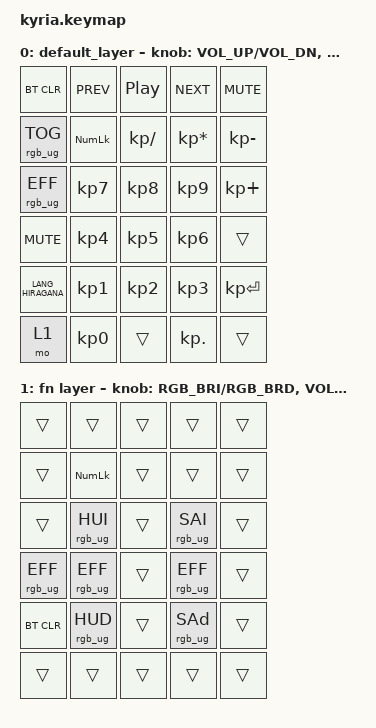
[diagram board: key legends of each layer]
/*
 * Copyright (c) 2020 The ZMK Contributors
 *
 * SPDX-License-Identifier: MIT
 */

#include <behaviors.dtsi>
#include <dt-bindings/zmk/keys.h>

/ {
	keymap {
		compatible = "zmk,keymap";

		default_layer {
// ---------------------------------------------------------------------------------------------------------------------------------
// |  ESC  |  Q  |  W  |  E   |  R   |  T   |                                          |  Y   |  U    |  I    |  O   |   P   |   \  |
// |  TAB  |  A  |  S  |  D   |  F   |  G   |                                          |  H   |  J    |  K    |  L   |   ;   |   '  |
// | SHIFT |  Z  |  X  |  C   |  V   |  B   | L SHIFT | L SHIFT |  | L SHIFT | L SHIFT |  N   |  M    |  ,    |  .   |   /   | CTRL |
//                     | GUI  | DEL  | RET  |  SPACE  |   ESC   |  |   RET   |  SPACE  | TAB  | BSPC  | R-ALT |
			bindings = <
                &bt BT_CLR          &kp C_PREV      &kp C_PLAY_PAUSE   &kp C_NEXT           &kp C_MUTE   
                &rgb_ug RGB_TOG     &kp KP_NUMLOCK  &kp KP_DIVIDE      &kp KP_MULTIPLY      &kp KP_MINUS    
                &rgb_ug RGB_EFF     &kp KP_N7       &kp KP_N8          &kp KP_N9            &kp KP_PLUS   
                &kp C_MUTE          &kp KP_N4       &kp KP_N5          &kp KP_N6            &trans
                &kp LANG_HIRAGANA   &kp KP_N1       &kp KP_N2          &kp KP_N3            &kp KP_ENTER
                &mo 1               &kp KP_N0       &trans             &kp KP_DOT           &trans
            >;
			sensor-bindings = <&inc_dec_kp C_VOL_UP C_VOL_DN &inc_dec_kp C_VOL_UP C_VOL_DN>;
		};
		
		fn_layer {
		label = "fn layer";
            bindings = <
                &trans          &trans             &trans            &trans              &trans  
                &trans          &kp KP_NUM         &trans            &trans              &trans     
                &trans          &rgb_ug RGB_HUI    &trans            &rgb_ug RGB_SAI	         &trans
                &rgb_ug RGB_EFF &rgb_ug RGB_EFF    &trans            &rgb_ug RGB_EFF     &trans    
                &bt BT_CLR      &rgb_ug RGB_HUD    &trans            &rgb_ug RGB_SAd              &trans
                &trans    	&trans             &trans            &trans              &trans           
            >;  
			sensor-bindings = <&inc_dec_kp RGB_BRI RGB_BRD &inc_dec_kp C_VOL_UP C_VOL_DN>;

        };
	};
};
